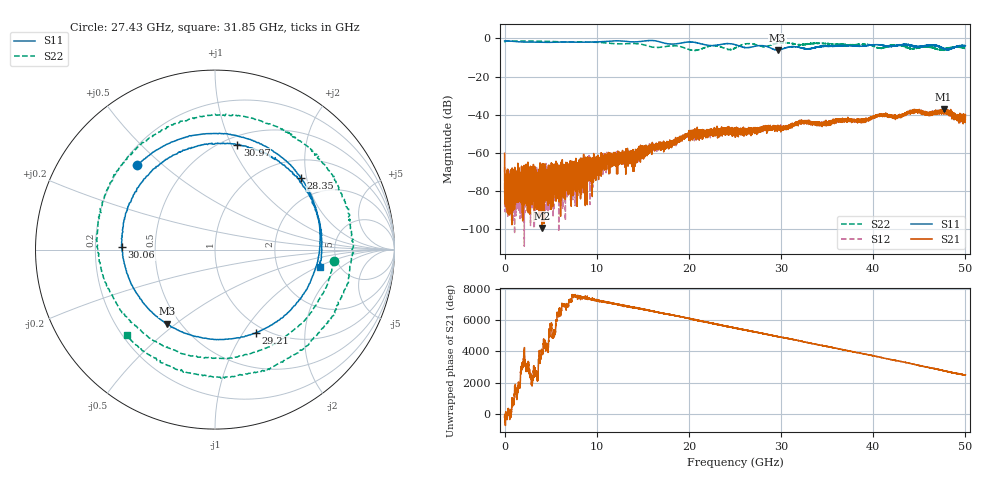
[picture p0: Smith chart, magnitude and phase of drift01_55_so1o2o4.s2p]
!Created with skrf (http://scikit-rf.org).
# Hz S RI R 50.0
!freq ReS11 ImS11 ReS21 ImS21 ReS12 ImS12 ReS22 ImS22
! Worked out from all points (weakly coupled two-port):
!   10001 points, 300 kHz to 50 GHz, reference 50 ohm
!   highest |S21| = -37.03 dB at 47.64 GHz (marker M1); lowest = -99.2 dB at 4.06 GHz (marker M2)
!   lowest |S11| = -6.2 dB at 29.63 GHz (marker M3), VSWR 2.94, Z = 21.3 - j23.2 ohm
!   |S11| at or under -10 dB: nowhere
!   |S22| runs from -6.3 to -1.4 dB; largest |S21 - S12| = 0.0047
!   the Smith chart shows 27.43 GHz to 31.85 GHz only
!   S11 on the Smith chart (normalised r, x): 27.43 GHz: 0.26, +0.41; 28.35 GHz: 1.42, +1.85; 29.21 GHz: 0.91, -1.14; 30.06 GHz: 0.32, +0.01; 30.97 GHz: 0.58, +1.05; 31.85 GHz: 3.56, -1.04
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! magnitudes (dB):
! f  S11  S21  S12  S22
! 300 kHz  -1.3  -60.2  -67.4  -2.1
! 275.3 MHz  -1.4  -76.4  -77.4  -1.4
! 4.06 GHz  -2.0  -99.2  -90.4  -1.5
! 8.335 GHz  -2.0  -66.5  -72.6  -1.8
! 12.28 GHz  -1.2  -64.5  -61.1  -2.9
! 13.98 GHz  -1.8  -60.5  -61.7  -2.7
! 16.67 GHz  -1.6  -56.4  -56.1  -4.8
! 18.62 GHz  -2.9  -54.7  -54.4  -3.9
! 20.49 GHz  -2.0  -48.9  -50.3  -6.3
! 22.6 GHz  -3.8  -48.1  -51.1  -3.8
! 25 GHz  -3.3  -47.1  -49.1  -5.1
! 27.43 GHz  -3.9  -46.9  -48.4  -3.5
! 28.35 GHz  -4.1  -46.3  -46.9  -4.2
! 29.21 GHz  -5.7  -46.7  -47.5  -3.0
! 29.63 GHz  -6.2  -46.3  -46.7  -2.5
! 30.06 GHz  -5.7  -47.9  -47.0  -2.3
! 30.97 GHz  -4.5  -46.0  -45.9  -2.4
! 31.85 GHz  -4.6  -44.5  -44.6  -3.3
! 33.34 GHz  -5.2  -44.4  -43.7  -2.7
! 41.67 GHz  -4.2  -40.2  -40.3  -4.1
! 47.64 GHz  -5.4  -37.0  -38.5  -6.0
! 50 GHz  -3.9  -41.0  -42.0  -5.3
